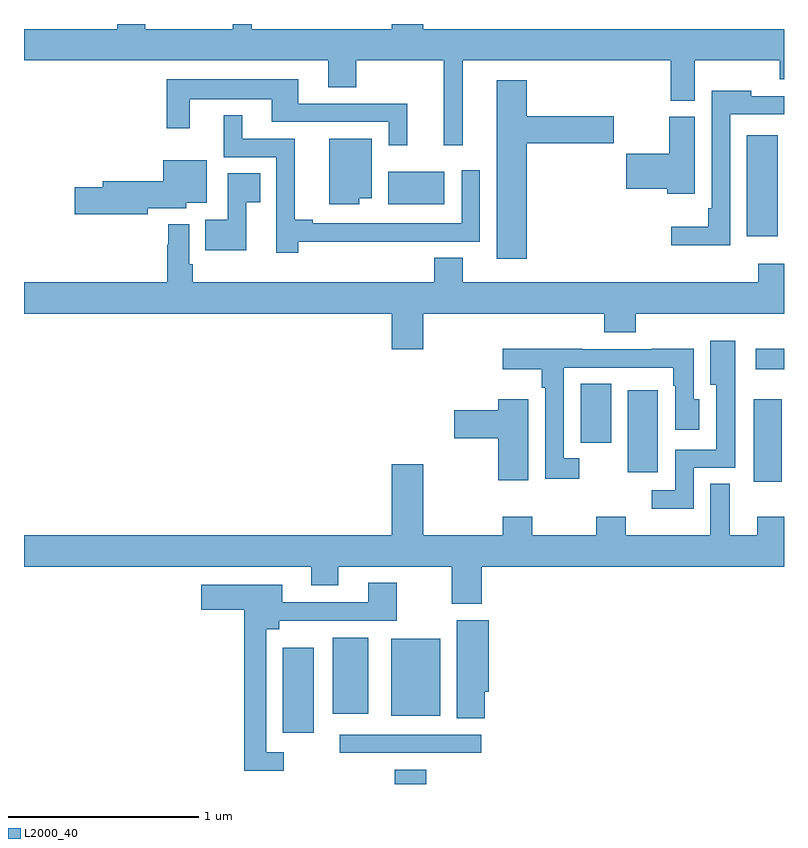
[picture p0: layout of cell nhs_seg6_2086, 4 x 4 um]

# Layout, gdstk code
import gdstk
lib = gdstk.Library(unit=1e-6, precision=1e-09)
def R(c, l, rs):  # rectangles x0, y0, x1, y1
    for r in rs: c.add(gdstk.rectangle(r[:2], r[2:], *l))
def P(c, l, *ps):  # polygons
    for p in ps: c.add(gdstk.Polygon(p, *l))
L2000_40 = (2000, 40)

nhs_seg6_2086 = lib.new_cell('nhs_seg6_2086')
R(nhs_seg6_2086, L2000_40, [(236.951,971.5,237.116,971.575), (236.661,971.664,237.406,971.76), (236.363,971.769,236.524,972.217), (236.933,971.858,237.19,972.265), (236.624,971.87,236.812,972.271), (238.841,973.091,238.987,973.525), (238.178,973.14,238.336,973.573), (237.929,973.296,238.09,973.607), (238.851,973.682,239,973.79), (238.805,974.382,238.966,974.914), (236.918,974.552,237.211,974.722)])
P(nhs_seg6_2086, L2000_40, [(237.1,975.5),(236.936,975.5),(236.936,975.472),(236.198,975.472),(236.198,975.5),(236.099,975.5),(236.099,975.472),(235.638,975.472),(235.638,975.5),(235.49,975.5),(235.49,975.472),(235,975.472),(235,975.308),(236.6,975.308),(236.6,975.166),(236.748,975.166),(236.748,975.308),(237.209,975.308),(237.209,974.862),(237.308,974.862),(237.308,975.308),(238.403,975.308),(238.403,975.097),(238.531,975.097),(238.531,975.308),(238.978,975.308),(238.978,975.209),(239,975.209),(239,975.472),(237.1,975.472)],
  [(237.017,975.081),(236.443,975.081),(236.443,975.208),(235.752,975.208),(235.752,974.952),(235.873,974.952),(235.873,975.104),(236.303,975.104),(236.303,974.985),(236.919,974.985),(236.919,974.862),(237.017,974.862)],
  [(237.647,974.873),(238.105,974.873),(238.105,975.015),(237.647,975.015),(237.647,975.205),(237.488,975.205),(237.488,974.265),(237.647,974.265)],
  [(238.716,975.024),(239,975.024),(239,975.12),(238.827,975.12),(238.827,975.148),(238.62,975.148),(238.62,974.53),(238.6,974.53),(238.6,974.434),(238.407,974.434),(238.407,974.336),(238.716,974.336)],
  [(236.444,974.354),(237.074,974.354),(237.074,974.355),(237.399,974.355),(237.399,974.731),(237.303,974.731),(237.303,974.451),(236.521,974.451),(236.521,974.471),(236.426,974.471),(236.426,974.895),(236.149,974.895),(236.149,975.019),(236.051,975.019),(236.051,974.799),(236.328,974.799),(236.328,974.295),(236.444,974.295)],
  [(238.531,975.012),(238.397,975.012),(238.397,974.816),(238.17,974.816),(238.17,974.633),(238.385,974.633),(238.385,974.606),(238.531,974.606)],
  [(236.764,974.582),(236.83,974.582),(236.83,974.896),(236.606,974.896),(236.606,974.552),(236.764,974.552)],
  [(235.65,974.531),(235.854,974.531),(235.854,974.558),(235.963,974.558),(235.963,974.782),(235.733,974.782),(235.733,974.672),(235.415,974.672),(235.415,974.642),(235.266,974.642),(235.266,974.5),(235.65,974.5)],
  [(236.17,974.563),(236.243,974.563),(236.243,974.714),(236.073,974.714),(236.073,974.47),(235.954,974.47),(235.954,974.309),(236.17,974.309)],
  [(237.1,973.976),(238.055,973.976),(238.055,973.877),(238.22,973.877),(238.22,973.976),(239,973.976),(239,974.239),(238.865,974.239),(238.865,974.14),(237.31,974.14),(237.31,974.27),(237.158,974.27),(237.158,974.14),(235.889,974.14),(235.889,974.236),(235.869,974.236),(235.869,974.446),(235.759,974.446),(235.759,974.339),(235.753,974.339),(235.753,974.14),(235,974.14),(235,973.976),(236.936,973.976),(236.936,973.788),(237.1,973.788)],
  [(238.524,973.164),(238.744,973.164),(238.744,973.834),(238.613,973.834),(238.613,973.601),(238.643,973.601),(238.643,973.26),(238.428,973.26),(238.428,973.047),(238.305,973.047),(238.305,972.95),(238.524,972.95)],
  [(237.922,973.215),(237.84,973.215),(237.84,973.692),(238.416,973.692),(238.416,973.595),(238.428,973.595),(238.428,973.365),(238.555,973.365),(238.555,973.524),(238.524,973.524),(238.524,973.79),(238.303,973.79),(238.303,973.788),(237.937,973.788),(237.937,973.79),(237.519,973.79),(237.519,973.682),(237.724,973.682),(237.724,973.586),(237.744,973.586),(237.744,973.107),(237.922,973.107)],
  [(237.655,973.525),(237.497,973.525),(237.497,973.466),(237.264,973.466),(237.264,973.319),(237.497,973.319),(237.497,973.098),(237.655,973.098)],
  [(237.41,972.644),(239,972.644),(239,972.907),(238.859,972.907),(238.859,972.808),(238.714,972.808),(238.714,973.079),(238.613,973.079),(238.613,972.808),(238.167,972.808),(238.167,972.907),(238.012,972.907),(238.012,972.808),(237.675,972.808),(237.675,972.907),(237.52,972.907),(237.52,972.808),(237.1,972.808),(237.1,973.183),(236.936,973.183),(236.936,972.808),(235,972.808),(235,972.644),(236.513,972.644),(236.513,972.545),(236.653,972.545),(236.653,972.644),(237.25,972.644),(237.25,972.45),(237.41,972.45)],
  [(236.368,971.667),(236.274,971.667),(236.274,972.314),(236.344,972.314),(236.344,972.36),(236.961,972.36),(236.961,972.559),(236.813,972.559),(236.813,972.456),(236.359,972.456),(236.359,972.55),(235.932,972.55),(235.932,972.416),(236.158,972.416),(236.158,971.571),(236.368,971.571)],
  [(237.425,971.985),(237.446,971.985),(237.446,972.361),(237.278,972.361),(237.278,971.845),(237.425,971.845)])

lib.write_gds('nhs_seg6_2086.gds')
